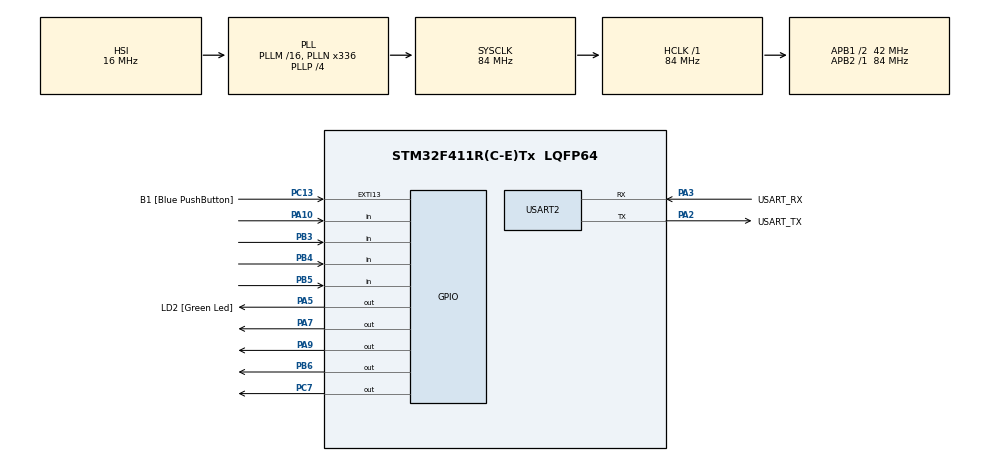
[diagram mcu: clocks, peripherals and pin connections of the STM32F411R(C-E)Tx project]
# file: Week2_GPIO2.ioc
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Mcu.Family=STM32F4
Mcu.Name=STM32F411R(C-E)Tx
Mcu.Package=LQFP64
NVIC.PriorityGroup=NVIC_PRIORITYGROUP_0
PA10.GPIO_PuPd=GPIO_PULLUP
PA10.Signal=GPIO_Input
PA13.GPIO_Label=TMS
PA13.Mode=Serial_Wire
PA13.Signal=SYS_JTMS-SWDIO
PA14.GPIO_Label=TCK
PA14.Mode=Serial_Wire
PA14.Signal=SYS_JTCK-SWCLK
PA2.GPIO_Label=USART_TX
PA2.Mode=Asynchronous
PA2.Signal=USART2_TX
PA3.GPIO_Label=USART_RX
PA3.Mode=Asynchronous
PA3.Signal=USART2_RX
PA5.GPIO_Label=LD2 [Green Led]
PA5.Signal=GPIO_Output
PA7.PinState=GPIO_PIN_SET
PA7.Signal=GPIO_Output
PA9.PinState=GPIO_PIN_SET
PA9.Signal=GPIO_Output
PB3.GPIO_PuPd=GPIO_PULLUP
PB3.Signal=GPIO_Input
PB4.GPIO_PuPd=GPIO_PULLUP
PB4.Signal=GPIO_Input
PB5.GPIO_PuPd=GPIO_PULLUP
PB5.Signal=GPIO_Input
PB6.PinState=GPIO_PIN_SET
PB6.Signal=GPIO_Output
PC13-ANTI_TAMP.GPIO_Label=B1 [Blue PushButton]
PC13-ANTI_TAMP.GPIO_ModeDefaultEXTI=GPIO_MODE_IT_FALLING
PC13-ANTI_TAMP.Signal=GPXTI13
PC14-OSC32_IN.Mode=LSE-External-Oscillator
PC14-OSC32_IN.Signal=RCC_OSC32_IN
PC15-OSC32_OUT.Mode=LSE-External-Oscillator
PC15-OSC32_OUT.Signal=RCC_OSC32_OUT
PC7.PinState=GPIO_PIN_SET
PC7.Signal=GPIO_Output
PH0\ -\ OSC_IN.Mode=HSE-External-Clock-Source
PH0\ -\ OSC_IN.Signal=RCC_OSC_IN
PH1\ -\ OSC_OUT.Mode=HSE-External-Clock-Source
PH1\ -\ OSC_OUT.Signal=RCC_OSC_OUT
ProjectManager.HeapSize=0x200
ProjectManager.StackSize=0x400
ProjectManager.TargetToolchain=STM32CubeIDE
RCC.48MHZClocksFreq_Value=84000000
RCC.AHBFreq_Value=84000000
RCC.APB1CLKDivider=RCC_HCLK_DIV2
RCC.APB1Freq_Value=42000000
RCC.APB1TimFreq_Value=84000000
RCC.APB2Freq_Value=84000000
RCC.APB2TimFreq_Value=84000000
RCC.CortexFreq_Value=84000000
RCC.FLatency-AdvancedSettings=FLASH_LATENCY_2
RCC.HCLKFreq_Value=84000000
RCC.HSE_VALUE=8000000
RCC.HSI_VALUE=16000000
RCC.PLLN=336
RCC.PLLP=RCC_PLLP_DIV4
RCC.SYSCLKFreq_VALUE=84000000
RCC.SYSCLKSource=RCC_SYSCLKSOURCE_PLLCLK
RCC.VCOOutputFreq_Value=336000000
USART2.VirtualMode=VM_ASYNC
board=NUCLEO-F411RE

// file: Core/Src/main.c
/* USER CODE BEGIN Header */
/**
  ******************************************************************************
  * @file           : main.c
  * @brief          : Main program body
  ******************************************************************************
  * @attention
  *
  * <h2><center>&copy; Copyright (c) 2021 STMicroelectronics.
  * All rights reserved.</center></h2>
  *
  * This software component is licensed by ST under BSD 3-Clause license,
  * the "License"; You may not use this file except in compliance with the
  * License. You may obtain a copy of the License at:
  *                        opensource.org/licenses/BSD-3-Clause
  *
  ******************************************************************************
  */
/* USER CODE END Header */
#include "main.h"

UART_HandleTypeDef huart2;

/* USER CODE BEGIN PV */

uint16_t ButtonMatrixState = 0;
uint32_t ButtonMatrixTimeStamp = 0;

/* USER CODE END PV */

void SystemClock_Config(void);
static void MX_GPIO_Init(void);
static void MX_USART2_UART_Init(void);
/* USER CODE BEGIN PFP */

void ButtonMatrixUpdate(); //Scan and Update data of Button Matrix
uint16_t STATE_Display = 0;

/* USER CODE END PFP */

int main(void)
{

  /* MCU Configuration--------------------------------------------------------*/

  /* Reset of all peripherals, Initializes the Flash interface and the Systick. */
  HAL_Init();

  /* Configure the system clock */
  SystemClock_Config();

  /* Initialize all configured peripherals */
  MX_GPIO_Init();
  MX_USART2_UART_Init();
  /* USER CODE BEGIN 2 */
  //--------------------------------------------------------------------------------
enum _StateNumber
{
	StateNumber_0 = 0b1000000000000,
	StateNumber_1 = 0b100000000,
	StateNumber_2 = 0b1000000000,
	StateNumber_3 = 0b10000000000,
	StateNumber_4 = 0b10000,
	StateNumber_5 = 0b100000,
	StateNumber_6 = 0b1000000,
	StateNumber_7 = 0b1,
	StateNumber_8 = 0b10,
	StateNumber_9 = 0b100,
	StateNumber_OK = 0b1000000000000000,
	StateNumber_Clear = 0b1000,
	StateNumber_NoInput = 0b0,
	StateNoNumber1 = 0b10000000,
	StateNoNumber2 = 0b100000000000,
	StateNoNumber3 = 0b10000000000000,
	StateNoNumber4 = 0b100000000000000
};
enum _StateDisplay
{
	StateDisplay_Start = 0,
	StateDisplay_SN1 = 10,
	StateDisplay_SN2 = 20,
	StateDisplay_SN3 = 30,
	StateDisplay_SN4 = 40,
	StateDisplay_SN5 = 50,
	StateDisplay_SN6 = 60,
	StateDisplay_SN7 = 70,
	StateDisplay_SN8 = 80,
	StateDisplay_SN9 = 90,
	StateDisplay_SN10 = 100,
	StateDisplay_SN11 = 110,
	StateDisplay_Error = 120,
	StateDisplay_OK = 130,
	StateDisplay_LED2 = 140
};

//uint16_t DataBase = 0;
uint16_t ButtonState[2];
  //--------------------------------------------------------------------------------
  /* USER CODE END 2 */

  /* Infinite loop */
  /* USER CODE BEGIN WHILE */

  //--------------------------------------------------------------------------------
  while (1)
  {
	  ButtonMatrixUpdate();
	  ButtonState[0] = ButtonMatrixState;
	  if (STATE_Display == StateDisplay_Start)
	  {
		  STATE_Display = StateDisplay_SN1;
	  }

	  if (ButtonState[0] != 0b0 && ButtonState[1] == 0b0)
	  {
		switch(STATE_Display)
		  {
			case StateDisplay_SN1:
				if(ButtonMatrixState == StateNumber_NoInput)
				{
					STATE_Display = StateDisplay_SN1;
				}
				else if(ButtonMatrixState == StateNumber_6)
				{
					STATE_Display = StateDisplay_SN2;
				}
				else if(ButtonMatrixState == StateNumber_Clear)
				{
					STATE_Display = StateDisplay_Start;
				}
				else if(ButtonMatrixState == StateNumber_OK)
				{
					STATE_Display = StateDisplay_SN1;
				}
				else if(ButtonMatrixState == StateNoNumber1 || ButtonMatrixState == StateNoNumber2 || ButtonMatrixState == StateNoNumber3 || ButtonMatrixState == StateNoNumber4)
				{
					STATE_Display = StateDisplay_SN1;
				}
				else
				{
					STATE_Display = StateDisplay_Error;
				}
				break;
			case StateDisplay_SN2:
				if(ButtonMatrixState == StateNumber_NoInput)
				{
					STATE_Display = StateDisplay_SN2;
				}
				else if(ButtonMatrixState == StateNumber_2)
				{
					STATE_Display = StateDisplay_SN3;
				}
				else if(ButtonMatrixState == StateNumber_Clear)
				{
					STATE_Display = StateDisplay_Start;
				}
				else if(ButtonMatrixState == StateNumber_OK)
				{
					STATE_Display = StateDisplay_SN2;
				}
				else if(ButtonMatrixState == StateNoNumber1 || ButtonMatrixState == StateNoNumber2 || ButtonMatrixState == StateNoNumber3 || ButtonMatrixState == StateNoNumber4)
				{
					STATE_Display = StateDisplay_SN2;
				}
				else
				{
					STATE_Display = StateDisplay_Error;
				}
				break;
			case StateDisplay_SN3:
				if(ButtonMatrixState == StateNumber_NoInput)
				{
					STATE_Display = StateDisplay_SN3;
				}
				else if(ButtonMatrixState == StateNumber_3)
				{
					STATE_Display = StateDisplay_SN4;
				}
				else if(ButtonMatrixState == StateNumber_Clear)
				{
					STATE_Display = StateDisplay_Start;
				}
				else if(ButtonMatrixState == StateNumber_OK)
				{
					STATE_Display = StateDisplay_SN3;
				}
				else if(ButtonMatrixState == StateNoNumber1 || ButtonMatrixState == StateNoNumber2 || ButtonMatrixState == StateNoNumber3 || ButtonMatrixState == StateNoNumber4)
				{
					STATE_Display = StateDisplay_SN3;
				}
				else
				{
					STATE_Display = StateDisplay_Error;
				}
				break;
			case StateDisplay_SN4:
				if(ButtonMatrixState == StateNumber_NoInput)
				{
					STATE_Display = StateDisplay_SN4;
				}
				else if(ButtonMatrixState == StateNumber_4)
				{
					STATE_Display = StateDisplay_SN5;
				}
				else if(ButtonMatrixState == StateNumber_Clear)
				{
					STATE_Display = StateDisplay_Start;
				}
				else if(ButtonMatrixState == StateNumber_OK)
				{
					STATE_Display = StateDisplay_SN4;
				}
				else if(ButtonMatrixState == StateNoNumber1 || ButtonMatrixState == StateNoNumber2 || ButtonMatrixState == StateNoNumber3 || ButtonMatrixState == StateNoNumber4)
				{
					STATE_Display = StateDisplay_SN4;
				}
				else
				{
					STATE_Display = StateDisplay_Error;
				}
				break;
			case StateDisplay_SN5:
				if(ButtonMatrixState == StateNumber_NoInput)
				{
					STATE_Display = StateDisplay_SN5;
				}
				else if(ButtonMatrixState == StateNumber_0)
				{
					STATE_Display = StateDisplay_SN6;
				}
				else if(ButtonMatrixState == StateNumber_Clear)
				{
					STATE_Display = StateDisplay_Start;
				}
				else if(ButtonMatrixState == StateNumber_OK)
				{
					STATE_Display = StateDisplay_SN5;
				}
				else if(ButtonMatrixState == StateNoNumber1 || ButtonMatrixState == StateNoNumber2 || ButtonMatrixState == StateNoNumber3 || ButtonMatrixState == StateNoNumber4)
				{
					STATE_Display = StateDisplay_SN5;
				}
				else
				{
					STATE_Display = StateDisplay_Error;
				}
				break;
			case StateDisplay_SN6:
				if(ButtonMatrixState == StateNumber_NoInput)
				{
					STATE_Display = StateDisplay_SN6;
				}
				else if(ButtonMatrixState == StateNumber_5)
				{
					STATE_Display = StateDisplay_SN7;
				}
				else if(ButtonMatrixState == StateNumber_Clear)
				{
					STATE_Display = StateDisplay_Start;
				}
				else if(ButtonMatrixState == StateNumber_OK)
				{
					STATE_Display = StateDisplay_SN6;
				}
				else if(ButtonMatrixState == StateNoNumber1 || ButtonMatrixState == StateNoNumber2 || ButtonMatrixState == StateNoNumber3 || ButtonMatrixState == StateNoNumber4)
				{
					STATE_Display = StateDisplay_SN6;
				}
				else
				{
					STATE_Display = StateDisplay_Error;
				}
				break;
			case StateDisplay_SN7:
				if(ButtonMatrixState == StateNumber_NoInput)
				{
					STATE_Display = StateDisplay_SN7;
				}
				else if(ButtonMatrixState == StateNumber_0)
				{
					STATE_Display = StateDisplay_SN8;
				}
				else if(ButtonMatrixState == StateNumber_Clear)
				{
					STATE_Display = StateDisplay_Start;
				}
				else if(ButtonMatrixState == StateNumber_OK)
				{
					STATE_Display = StateDisplay_SN7;
				}
				else if(ButtonMatrixState == StateNoNumber1 || ButtonMatrixState == StateNoNumber2 || ButtonMatrixState == StateNoNumber3 || ButtonMatrixState == StateNoNumber4)
				{
					STATE_Display = StateDisplay_SN7;
				}
				else
				{
					STATE_Display = StateDisplay_Error;
				}
				break;
			case StateDisplay_SN8:
				if(ButtonMatrixState == StateNumber_NoInput)
				{
					STATE_Display = StateDisplay_SN8;
				}
				else if(ButtonMatrixState == StateNumber_0)
				{
					STATE_Display = StateDisplay_SN9;
				}
				else if(ButtonMatrixState == StateNumber_Clear)
				{
					STATE_Display = StateDisplay_Start;
				}
				else if(ButtonMatrixState == StateNumber_OK)
				{
					STATE_Display = StateDisplay_SN8;
				}
				else if(ButtonMatrixState == StateNoNumber1 || ButtonMatrixState == StateNoNumber2 || ButtonMatrixState == StateNoNumber3 || ButtonMatrixState == StateNoNumber4)
				{
					STATE_Display = StateDisplay_SN8;
				}
				else
				{
					STATE_Display = StateDisplay_Error;
				}
				break;
			case StateDisplay_SN9:
				if(ButtonMatrixState == StateNumber_NoInput)
				{
					STATE_Display = StateDisplay_SN9;
				}
				else if(ButtonMatrixState == StateNumber_0)
				{
					STATE_Display = StateDisplay_SN10;
				}
				else if(ButtonMatrixState == StateNumber_Clear)
				{
					STATE_Display = StateDisplay_Start;
				}
				else if(ButtonMatrixState == StateNumber_OK)
				{
					STATE_Display = StateDisplay_SN9;
				}
				else if(ButtonMatrixState == StateNoNumber1 || ButtonMatrixState == StateNoNumber2 || ButtonMatrixState == StateNoNumber3 || ButtonMatrixState == StateNoNumber4)
				{
					STATE_Display = StateDisplay_SN9;
				}
				else
				{
					STATE_Display = StateDisplay_Error;
				}
				break;
			case StateDisplay_SN10:
				if(ButtonMatrixState == StateNumber_NoInput)
				{
					STATE_Display = StateDisplay_SN10;
				}
				else if(ButtonMatrixState == StateNumber_1)
				{
					STATE_Display = StateDisplay_SN11;
				}
				else if(ButtonMatrixState == StateNumber_Clear)
				{
					STATE_Display = StateDisplay_Start;
				}
				else if(ButtonMatrixState == StateNumber_OK)
				{
					STATE_Display = StateDisplay_SN10;
				}
				else if(ButtonMatrixState == StateNoNumber1 || ButtonMatrixState == StateNoNumber2 || ButtonMatrixState == StateNoNumber3 || ButtonMatrixState == StateNoNumber4)
				{
					STATE_Display = StateDisplay_SN10;
				}
				else
				{
					STATE_Display = StateDisplay_Error;
				}
				break;
			case StateDisplay_SN11:
				if(ButtonMatrixState == StateNumber_NoInput)
				{
					STATE_Display = StateDisplay_SN11;
				}
				else if(ButtonMatrixState == StateNumber_6)
				{
					STATE_Display = StateDisplay_OK;
				}
				else if(ButtonMatrixState == StateNumber_Clear)
				{
					STATE_Display = StateDisplay_Start;
				}
				else if(ButtonMatrixState == StateNumber_OK)
				{
					STATE_Display = StateDisplay_SN1;
				}
				else if(ButtonMatrixState == StateNoNumber1 || ButtonMatrixState == StateNoNumber2 || ButtonMatrixState == StateNoNumber3 || ButtonMatrixState == StateNoNumber4)
				{
					STATE_Display = StateDisplay_SN11;
				}
				else
				{
					STATE_Display = StateDisplay_Error;
				}
				break;
			case StateDisplay_OK:
				if(ButtonMatrixState == StateNumber_NoInput)
				{
					STATE_Display = StateDisplay_OK;
				}
				else if(ButtonMatrixState == StateNumber_OK)
				{
					STATE_Display = StateDisplay_LED2;
				}
				else if(ButtonMatrixState == StateNumber_Clear)
				{
					STATE_Display = StateDisplay_Start;
				}
				else if(ButtonMatrixState == StateNoNumber1 || ButtonMatrixState == StateNoNumber2 || ButtonMatrixState == StateNoNumber3 || ButtonMatrixState == StateNoNumber4)
				{
					STATE_Display = StateDisplay_OK;
				}
				else
				{
					STATE_Display = StateDisplay_Error;
				}
				break;
			case StateDisplay_LED2:
				if(ButtonMatrixState == StateNumber_Clear)
				{
					STATE_Display = StateDisplay_Start;
				}
				break;
			case StateDisplay_Error:
				if(ButtonMatrixState == StateNumber_Clear)
				{
					STATE_Display = StateDisplay_Start;
				}
				else
				{
					STATE_Display = StateDisplay_Error;
				}
				break;
	  	  }
	  }
	  if(STATE_Display == StateDisplay_LED2)
		{
			HAL_GPIO_WritePin(GPIOA, GPIO_PIN_5, GPIO_PIN_SET);
		}
	  else
	  {
		  HAL_GPIO_WritePin(GPIOA, GPIO_PIN_5, GPIO_PIN_RESET);
	  }
	  ButtonState[1] = ButtonState[0];

  //--------------------------------------------------------------------------------
    /* USER CODE END WHILE */

  }
}

void SystemClock_Config(void)
{
  RCC_OscInitTypeDef RCC_OscInitStruct = {0};
  RCC_ClkInitTypeDef RCC_ClkInitStruct = {0};

  /** Configure the main internal regulator output voltage
  */
  __HAL_RCC_PWR_CLK_ENABLE();
  __HAL_PWR_VOLTAGESCALING_CONFIG(PWR_REGULATOR_VOLTAGE_SCALE1);
  /** Initializes the RCC Oscillators according to the specified parameters
  * in the RCC_OscInitTypeDef structure.
  */
  RCC_OscInitStruct.OscillatorType = RCC_OSCILLATORTYPE_HSI;
  RCC_OscInitStruct.HSIState = RCC_HSI_ON;
  RCC_OscInitStruct.HSICalibrationValue = RCC_HSICALIBRATION_DEFAULT;
  RCC_OscInitStruct.PLL.PLLState = RCC_PLL_ON;
  RCC_OscInitStruct.PLL.PLLSource = RCC_PLLSOURCE_HSI;
  RCC_OscInitStruct.PLL.PLLM = 16;
  RCC_OscInitStruct.PLL.PLLN = 336;
  RCC_OscInitStruct.PLL.PLLP = RCC_PLLP_DIV4;
  RCC_OscInitStruct.PLL.PLLQ = 4;
  if (HAL_RCC_OscConfig(&RCC_OscInitStruct) != HAL_OK)
  {
    Error_Handler();
  }
  /** Initializes the CPU, AHB and APB buses clocks
  */
  RCC_ClkInitStruct.ClockType = RCC_CLOCKTYPE_HCLK|RCC_CLOCKTYPE_SYSCLK
                              |RCC_CLOCKTYPE_PCLK1|RCC_CLOCKTYPE_PCLK2;
  RCC_ClkInitStruct.SYSCLKSource = RCC_SYSCLKSOURCE_PLLCLK;
  RCC_ClkInitStruct.AHBCLKDivider = RCC_SYSCLK_DIV1;
  RCC_ClkInitStruct.APB1CLKDivider = RCC_HCLK_DIV2;
  RCC_ClkInitStruct.APB2CLKDivider = RCC_HCLK_DIV1;

  if (HAL_RCC_ClockConfig(&RCC_ClkInitStruct, FLASH_LATENCY_2) != HAL_OK)
  {
    Error_Handler();
  }
}

static void MX_USART2_UART_Init(void)
{

  huart2.Instance = USART2;
  huart2.Init.BaudRate = 115200;
  huart2.Init.WordLength = UART_WORDLENGTH_8B;
  huart2.Init.StopBits = UART_STOPBITS_1;
  huart2.Init.Parity = UART_PARITY_NONE;
  huart2.Init.Mode = UART_MODE_TX_RX;
  huart2.Init.HwFlowCtl = UART_HWCONTROL_NONE;
  huart2.Init.OverSampling = UART_OVERSAMPLING_16;
  if (HAL_UART_Init(&huart2) != HAL_OK)
  {
    Error_Handler();
  }

}

static void MX_GPIO_Init(void)
{
  GPIO_InitTypeDef GPIO_InitStruct = {0};

  /* GPIO Ports Clock Enable */
  __HAL_RCC_GPIOC_CLK_ENABLE();
  __HAL_RCC_GPIOH_CLK_ENABLE();
  __HAL_RCC_GPIOA_CLK_ENABLE();
  __HAL_RCC_GPIOB_CLK_ENABLE();

  /*Configure GPIO pin Output Level */
  HAL_GPIO_WritePin(LD2_GPIO_Port, LD2_Pin, GPIO_PIN_RESET);

  /*Configure GPIO pin Output Level */
  HAL_GPIO_WritePin(GPIOA, GPIO_PIN_7|GPIO_PIN_9, GPIO_PIN_SET);

  /*Configure GPIO pin Output Level */
  HAL_GPIO_WritePin(GPIOC, GPIO_PIN_7, GPIO_PIN_SET);

  /*Configure GPIO pin Output Level */
  HAL_GPIO_WritePin(GPIOB, GPIO_PIN_6, GPIO_PIN_SET);

  /*Configure GPIO pin : B1_Pin */
  GPIO_InitStruct.Pin = B1_Pin;
  GPIO_InitStruct.Mode = GPIO_MODE_IT_FALLING;
  GPIO_InitStruct.Pull = GPIO_NOPULL;
  HAL_GPIO_Init(B1_GPIO_Port, &GPIO_InitStruct);

  /*Configure GPIO pin : LD2_Pin */
  GPIO_InitStruct.Pin = LD2_Pin;
  GPIO_InitStruct.Mode = GPIO_MODE_OUTPUT_PP;
  GPIO_InitStruct.Pull = GPIO_NOPULL;
  GPIO_InitStruct.Speed = GPIO_SPEED_FREQ_LOW;
  HAL_GPIO_Init(LD2_GPIO_Port, &GPIO_InitStruct);

  /*Configure GPIO pins : PA7 PA9 */
  GPIO_InitStruct.Pin = GPIO_PIN_7|GPIO_PIN_9;
  GPIO_InitStruct.Mode = GPIO_MODE_OUTPUT_OD;
  GPIO_InitStruct.Pull = GPIO_NOPULL;
  GPIO_InitStruct.Speed = GPIO_SPEED_FREQ_LOW;
  HAL_GPIO_Init(GPIOA, &GPIO_InitStruct);

  /*Configure GPIO pin : PC7 */
  GPIO_InitStruct.Pin = GPIO_PIN_7;
  GPIO_InitStruct.Mode = GPIO_MODE_OUTPUT_OD;
  GPIO_InitStruct.Pull = GPIO_NOPULL;
  GPIO_InitStruct.Speed = GPIO_SPEED_FREQ_LOW;
  HAL_GPIO_Init(GPIOC, &GPIO_InitStruct);

  /*Configure GPIO pin : PA10 */
  GPIO_InitStruct.Pin = GPIO_PIN_10;
  GPIO_InitStruct.Mode = GPIO_MODE_INPUT;
  GPIO_InitStruct.Pull = GPIO_PULLUP;
  HAL_GPIO_Init(GPIOA, &GPIO_InitStruct);

  /*Configure GPIO pins : PB3 PB4 PB5 */
  GPIO_InitStruct.Pin = GPIO_PIN_3|GPIO_PIN_4|GPIO_PIN_5;
  GPIO_InitStruct.Mode = GPIO_MODE_INPUT;
  GPIO_InitStruct.Pull = GPIO_PULLUP;
  HAL_GPIO_Init(GPIOB, &GPIO_InitStruct);

  /*Configure GPIO pin : PB6 */
  GPIO_InitStruct.Pin = GPIO_PIN_6;
  GPIO_InitStruct.Mode = GPIO_MODE_OUTPUT_OD;
  GPIO_InitStruct.Pull = GPIO_NOPULL;
  GPIO_InitStruct.Speed = GPIO_SPEED_FREQ_LOW;
  HAL_GPIO_Init(GPIOB, &GPIO_InitStruct);

}

/* USER CODE BEGIN 4 */
//Function Implementation
GPIO_TypeDef* ButtonMatrixPort[8] = {GPIOA,       GPIOB,      GPIOB,      GPIOB,             GPIOA,      GPIOC,      GPIOB,      GPIOA     };
uint16_t      ButtonMatrixPin [8] = {GPIO_PIN_10, GPIO_PIN_3, GPIO_PIN_5, GPIO_PIN_4,        GPIO_PIN_9, GPIO_PIN_7, GPIO_PIN_6, GPIO_PIN_7};
uint8_t       ButtonMatrixLine    = 0;
void ButtonMatrixUpdate()
{
	if(HAL_GetTick() - ButtonMatrixTimeStamp >= 20)
	{
		ButtonMatrixTimeStamp = HAL_GetTick();
		for(int i = 0; i < 4; i++)
		{
			GPIO_PinState PinState = HAL_GPIO_ReadPin(ButtonMatrixPort[i], ButtonMatrixPin[i]);
			if(PinState == GPIO_PIN_RESET) // Button is Pressed
			{
				ButtonMatrixState |= (uint16_t)1 << (i + ButtonMatrixLine * 4);

			}
			else
			{
				ButtonMatrixState &= ~((uint16_t)1 << (i + ButtonMatrixLine * 4));

			}
		}
		uint8_t NowOutputPin = ButtonMatrixLine + 4;
		HAL_GPIO_WritePin(ButtonMatrixPort[NowOutputPin], ButtonMatrixPin[NowOutputPin], GPIO_PIN_SET);
		ButtonMatrixLine = (ButtonMatrixLine + 1) % 4;

		uint8_t NextOutputPin = ButtonMatrixLine + 4;
		HAL_GPIO_WritePin(ButtonMatrixPort[NextOutputPin], ButtonMatrixPin[NextOutputPin], GPIO_PIN_RESET);
	}
}

/* USER CODE END 4 */

void Error_Handler(void)
{
  __disable_irq();
  while (1)
  {
  }
}

/************************ (C) COPYRIGHT STMicroelectronics *****END OF FILE****/
